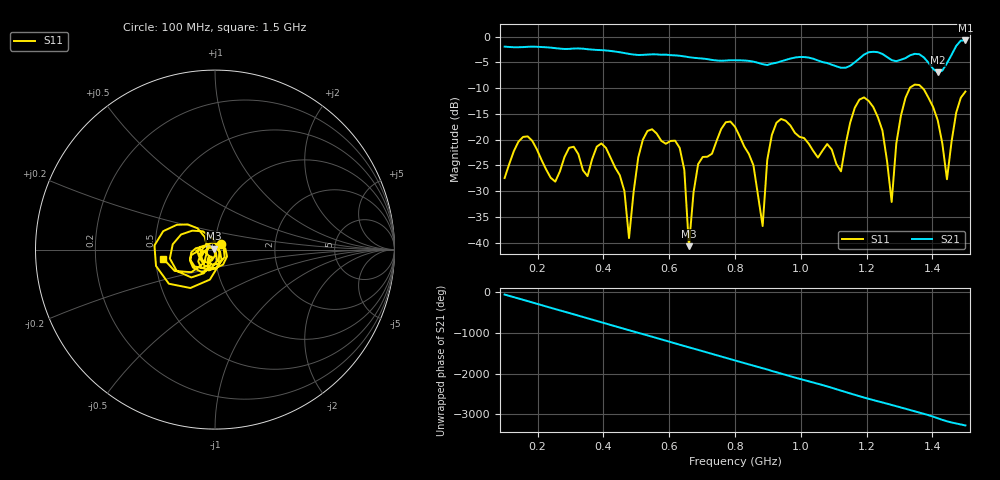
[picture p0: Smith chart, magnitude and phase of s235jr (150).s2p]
! NanoVNA-App
! Date: 2025-09-25 15:05:20
! Start: 100MHz Stop: 1,5GHz Points: 101
! S-Parameter data: F S11 S21 S12 S22
# Hz S RI R 50
!  Frequency  S11_Real  S11_Imag  S21_Real  S21_Imag  S12_Real  S12_Imag  S22_Real  S22_Imag
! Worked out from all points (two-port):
!   101 points, 100 MHz to 1.5 GHz, reference 50 ohm
!   highest |S21| = -0.77 dB at 1.5 GHz (marker M1); lowest = -7.0 dB at 1.416 GHz (marker M2)
!   |S21| within 3 dB of the highest: start of sweep to 635 MHz; 1.187 GHz to 1.257 GHz (69.5 MHz wide, 5.69 % of centre) (the widest 2 of 4)
!   lowest |S11| = -40.7 dB at 660 MHz (marker M3), VSWR 1.02, Z = 49.3 + j0.592 ohm
!   |S11| at or under -10 dB: start of sweep to 1.331 GHz; 1.369 GHz to end of sweep
!   S12 and S22 are empty: the file has one direction only
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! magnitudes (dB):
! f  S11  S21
! 100 MHz  -27.5  -2.0
! 170 MHz  -19.4  -2.0
! 338 MHz  -26.0  -2.4
! 408 MHz  -21.6  -2.7
! 478 MHz  -39.1  -3.4
! 520 MHz  -20.0  -3.6
! 576 MHz  -20.3  -3.5
! 632 MHz  -21.6  -3.7
! 660 MHz  -40.7  -4.0
! 688 MHz  -24.8  -4.2
! 800 MHz  -17.5  -4.6
! 884 MHz  -36.8  -5.4
! 926 MHz  -16.7  -5.1
! 1.038 GHz  -22.2  -4.3
! 1.122 GHz  -26.2  -6.1
! 1.192 GHz  -11.8  -3.5
! 1.248 GHz  -18.3  -3.4
! 1.276 GHz  -32.1  -4.6
! 1.332 GHz  -9.9  -3.6
! 1.416 GHz  -16.3  -7.0
! 1.444 GHz  -27.7  -5.2
! 1.5 GHz  -10.7  -0.8
